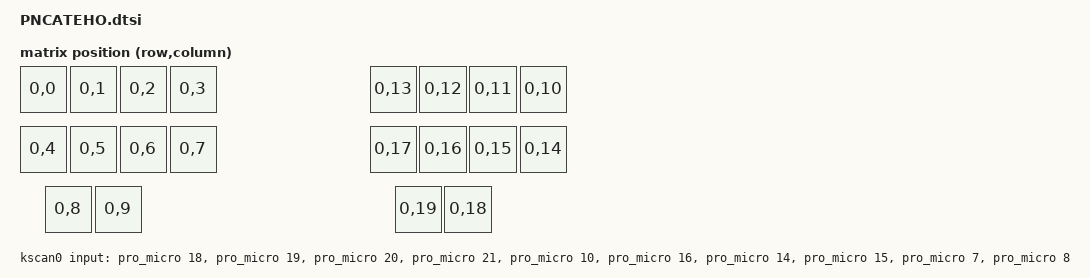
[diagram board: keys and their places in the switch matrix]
/*
 * Copyright (c) 2020 The ZMK Contributors
 *
 * SPDX-License-Identifier: MIT
 */

#include <dt-bindings/zmk/matrix_transform.h>
#include <physical_layouts.dtsi>

/ {
    chosen {
        zmk,kscan = &kscan0;
        zmk,physical-layout = &pncateho_physical_layout;
    };

    default_transform: keymap_transform_0 {
        compatible = "zmk,matrix-transform";
        columns = <8>;
        rows = <3>;
        map = <
        RC(0,0) RC(0,1) RC(0,2) RC(0,3)                    RC(0,13) RC(0,12) RC(0,11) RC(0,10)
        RC(0,4) RC(0,5) RC(0,6) RC(0,7)                    RC(0,17) RC(0,16) RC(0,15) RC(0,14)              
                                RC(0,8) RC(0,9)    RC(0,19) RC(0,18)
            >;
    };

    kscan0: kscan {
        compatible = "zmk,kscan-gpio-direct";
        label = "KSCAN";

        input-gpios
            = <&pro_micro 18 (GPIO_ACTIVE_LOW | GPIO_PULL_UP)>
            , <&pro_micro 19 (GPIO_ACTIVE_LOW | GPIO_PULL_UP)>
            , <&pro_micro 20 (GPIO_ACTIVE_LOW | GPIO_PULL_UP)>
            , <&pro_micro 21 (GPIO_ACTIVE_LOW | GPIO_PULL_UP)>
            , <&pro_micro 10 (GPIO_ACTIVE_LOW | GPIO_PULL_UP)>
            , <&pro_micro 16 (GPIO_ACTIVE_LOW | GPIO_PULL_UP)>
            , <&pro_micro 14 (GPIO_ACTIVE_LOW | GPIO_PULL_UP)>
            , <&pro_micro 15 (GPIO_ACTIVE_LOW | GPIO_PULL_UP)>
            , <&pro_micro 7  (GPIO_ACTIVE_LOW | GPIO_PULL_UP)>
            , <&pro_micro 8  (GPIO_ACTIVE_LOW | GPIO_PULL_UP)>
            ;
    };

    pncateho_physical_layout: pncateho_physical_layout {
        compatible = "zmk,physical-layout";
        display-name = "PNCATEHO";
        transform = <&default_transform>;
        kscan = <&kscan0>;

        keys // w   h    x    y     rot rx ry
            = <&key_physical_attrs 100 100  0   0     0   0  0>
            , <&key_physical_attrs 100 100 100 0     0   0  0>
            , <&key_physical_attrs 100 100 200 0     0   0  0>
            , <&key_physical_attrs 100 100 300 0     0   0  0>
            , <&key_physical_attrs 100 100 700 0     0   0  0>
            , <&key_physical_attrs 100 100 800 0     0   0  0>
            , <&key_physical_attrs 100 100 900 0     0   0  0>
            , <&key_physical_attrs 100 100 1000 0    0   0  0>
            , <&key_physical_attrs 100 100 0 120   0   0  0>
            , <&key_physical_attrs 100 100 100 120 0   0  0>
            , <&key_physical_attrs 100 100 200 120 0   0  0>
            , <&key_physical_attrs 100 100 300 120 0   0  0>
            , <&key_physical_attrs 100 100 700 120 0   0  0>
            , <&key_physical_attrs 100 100 800 120 0   0  0>
            , <&key_physical_attrs 100 100 900 120 0   0  0>
            , <&key_physical_attrs 100 100 1000 120 0  0  0>
            , <&key_physical_attrs 100 100 50 240 0   0  0>
            , <&key_physical_attrs 100 100 150 240 0  0  0>
            , <&key_physical_attrs 100 100 750 240 0  0  0>
            , <&key_physical_attrs 100 100 850 240 0  0  0>
            ;
    };
};
